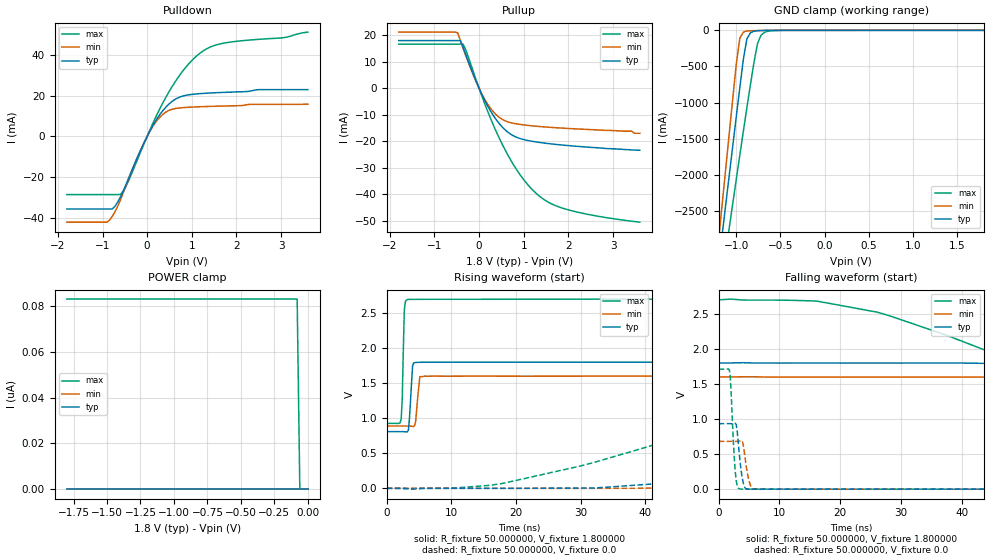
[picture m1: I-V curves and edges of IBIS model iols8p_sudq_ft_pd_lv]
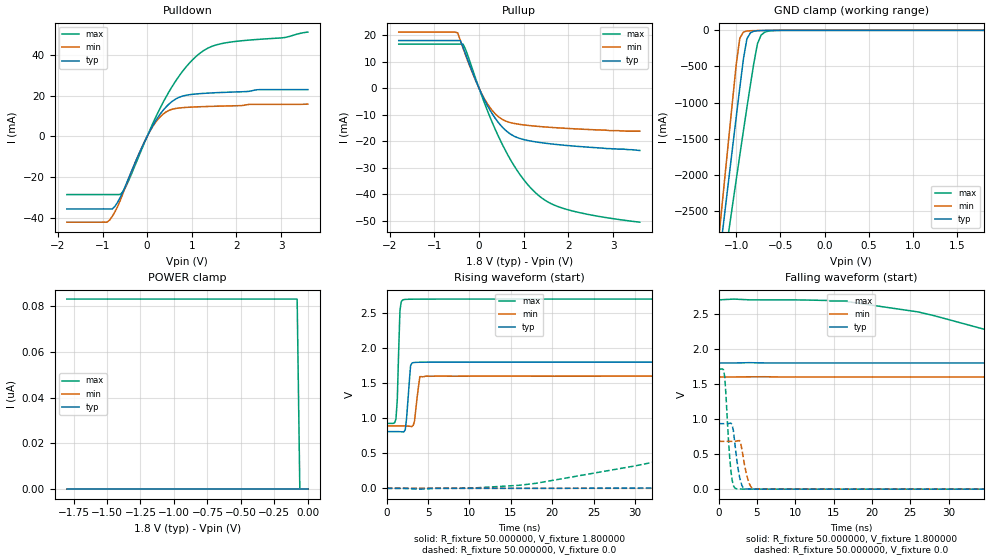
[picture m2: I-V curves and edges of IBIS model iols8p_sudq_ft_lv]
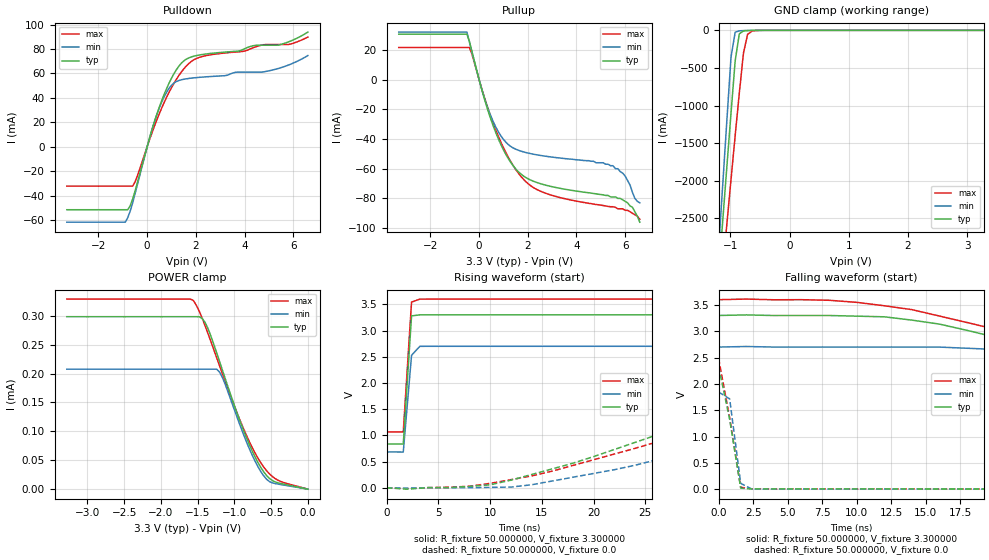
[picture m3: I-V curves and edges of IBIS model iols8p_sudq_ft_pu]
| IBIS file stm32c0_wlcsp12.ibs
| Created by s2ibis version 1.1 (customized version)
| North Carolina State University, ERL, 2006
[IBIS ver] 4.2
[File name] stm32c0_wlcsp12.ibs
[File Rev] 1.0
[Date]  05-08-2022
[Source] Data Created at STMicroelectronics
[Notes]  File originated from ELDO simulations.
[Disclaimer]  This information is for modeling purpose only and is
   not guaranted. The information is subject to change without
   notice.
[Copyright] Copyright 2013 STMicroelectronics Inc.
|   Component stm32c0_wlcsp12
[Component] stm32c0_wlcsp12
[Manufacturer] STMicroelectronics
[Package]
| variable   typ   min   max
R_pkg   0.0   0.0   0.0
L_pkg   0.0H   0.0H   0.0H
C_pkg   0.0F   0.0F   0.0F
[Pin]   signal_name   model_name
A2  PB6  io8prog2m25m50m120m_sudq_i2c_ft
A4  PC15  io8prog2m25m50m120m_sudq_ft
B1  PA13  io8prog2m25m50m120m_sudq_ft
B3  PC14  io8prog2m25m50m120m_sudq_i2c_ft
C2  PA14  io8prog2m25m50m120m_sudq_ft
C4  VDD  power
D3  PB7  io8prog2m25m50m120m_sudq_i2c_ft
E4  VSS  gnd
F1  PA3-PA4-PA5-PA6  io8prog2m25m50m120m_sudq_ft
F3  PF2-PA0-PA1-PA2  io8prog2m25m50m120m_sudq_ft
| in case PA8 is used
| D1  PA8-PA11  io8prog2m25m50m120m_sudq_ft
| in case PA11 is used
D1  PA8-PA11  io8prog2m25m50m120m_sudq_i2c_ft
| in case PA7 is used
| E2  PA12-PA7  io8prog2m25m50m120m_sudq_ft
| in case PA12 is used
E2  PA12-PA7  io8prog2m25m50m120m_sudq_i2c_ft
[Package Model]   443-wlcsp-12-220419
[Pin Mapping]   pulldown_ref   pullup_ref   | Comment
A2  gndio  vddiom
A4  gndio  vddiom
B1  gndio  vddiom
B3  gndio  vddiom
C2  gndio  vddiom
C4  nc  vddiom
D1  gndio  vddiom
D3  gndio  vddiom
E2  gndio  vddiom
E4  gndio  nc
F1  gndio  vddiom
F3  gndio  vddiom
[Model Selector] io8prog2m25m50m120m_sudq_ft
iols8p_sudq_ft_pd_lv  "IO low speed, PD=40kOhm - 1P8V"
iols8p_sudq_ft_pu_lv  "IO low speed, PU=40kOhm - 1P8V"
iols8p_sudq_ft_lv  "IO low speed - 1P8V"
iols8p_sudq_ft_pd  "IO low speed, PD=40kOhm - 3P3V"
iols8p_sudq_ft_pu  "IO low speed, PU=40kOhm - 3P3V"
iols8p_sudq_ft  "IO low speed - 3P3V"
iofs8p_sudq_ft_pd_lv  "IO full speed, PD=40kOhm - 1P8V"
iofs8p_sudq_ft_pu_lv  "IO full speed, PU=40kOhm - 1P8V"
iofs8p_sudq_ft_lv  "IO full speed - 1P8V"
iofs8p_sudq_ft_pd  "IO full speed, PD=40kOhm - 3P3V"
iofs8p_sudq_ft_pu  "IO full speed, PU=40kOhm - 3P3V"
iofs8p_sudq_ft  "IO full speed - 3P3V"
ioms8p_sudq_ft_pd_lv  "IO medium speed, PD=40kOhm - 1P8V"
ioms8p_sudq_ft_pu_lv  "IO medium speed, PU=40kOhm - 1P8V"
ioms8p_sudq_ft_lv  "IO medium speed - 1P8V"
ioms8p_sudq_ft_pd  "IO medium speed, PD=40kOhm - 3P3V"
ioms8p_sudq_ft_pu  "IO medium speed, PU=40kOhm - 3P3V"
ioms8p_sudq_ft  "IO medium speed - 3P3V"
iohs8p_sudq_ft_pd_lv  "IO high speed, PD=40kOhm - 1P8V"
iohs8p_sudq_ft_pu_lv  "IO high speed, PU=40kOhm - 1P8V"
iohs8p_sudq_ft_lv  "IO high speed - 1P8V"
iohs8p_sudq_ft_pd  "IO high speed, PD=40kOhm - 3P3V"
iohs8p_sudq_ft_pu  "IO high speed, PU=40kOhm - 3P3V"
iohs8p_sudq_ft  "IO high speed - 3P3V"
[Model Selector] io8prog2m25m50m120m_sudq_i2c_ft
io8prog_1v8_i2c_pd  "5V Tol GPIO 1.8V range i2c functionality with pull down"
io8prog_1v8_i2c_pu  "5V Tol GPIO 1.8V range i2c functionality with pull up"
io8prog_1v8_i2c  "5V Tol GPIO 1.8V range i2c functionality"
io8prog_3v3_i2c_pd  "5V Tol GPIO 3.3V range i2c functionality with pull down"
io8prog_3v3_i2c_pu  "5V Tol GPIO 3.3V range i2c functionality with pull up"
io8prog_3v3_i2c  "5V Tol GPIO 3.3V range i2c functionality"
iols8p_sudq_ft_pd_lv  "IO low speed, PD=40kOhm - 1P8V"
iols8p_sudq_ft_pu_lv  "IO low speed, PU=40kOhm - 1P8V"
iols8p_sudq_ft_lv  "IO low speed - 1P8V"
iols8p_sudq_ft_pd  "IO low speed, PD=40kOhm - 3P3V"
iols8p_sudq_ft_pu  "IO low speed, PU=40kOhm - 3P3V"
iols8p_sudq_ft  "IO low speed - 3P3V"
iofs8p_sudq_ft_pd_lv  "IO full speed, PD=40kOhm - 1P8V"
iofs8p_sudq_ft_pu_lv  "IO full speed, PU=40kOhm - 1P8V"
iofs8p_sudq_ft_lv  "IO full speed - 1P8V"
iofs8p_sudq_ft_pd  "IO full speed, PD=40kOhm - 3P3V"
iofs8p_sudq_ft_pu  "IO full speed, PU=40kOhm - 3P3V"
iofs8p_sudq_ft  "IO full speed - 3P3V"
ioms8p_sudq_ft_pd_lv  "IO medium speed, PD=40kOhm - 1P8V"
ioms8p_sudq_ft_pu_lv  "IO medium speed, PU=40kOhm - 1P8V"
ioms8p_sudq_ft_lv  "IO medium speed - 1P8V"
ioms8p_sudq_ft_pd  "IO medium speed, PD=40kOhm - 3P3V"
ioms8p_sudq_ft_pu  "IO medium speed, PU=40kOhm - 3P3V"
ioms8p_sudq_ft  "IO medium speed - 3P3V"
iohs8p_sudq_ft_pd_lv  "IO high speed, PD=40kOhm - 1P8V"
iohs8p_sudq_ft_pu_lv  "IO high speed, PU=40kOhm - 1P8V"
iohs8p_sudq_ft_lv  "IO high speed - 1P8V"
iohs8p_sudq_ft_pd  "IO high speed, PD=40kOhm - 3P3V"
iohs8p_sudq_ft_pu  "IO high speed, PU=40kOhm - 3P3V"
iohs8p_sudq_ft  "IO high speed - 3P3V"
[Define Package Model]  443-wlcsp-12-220419
[Manufacturer]  Unknown
[OEM]  Unknown
[Description]  None
[Number Of Pins]  12
[Pin Numbers]
| Pin Num   Terminal Name
B1 | PA13
C2 | PA14
E2 | PA12-PA7
F1 | PA3-PA4-PA5-PA6
D1 | PA8-PA11
A2 | PB6
D3 | PB7
B3 | PC14
A4 | PC15
F3 | PF2-PA0-PA1-PA2
C4 | VDD
E4 | VSS
[Model Data]
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[End Model Data]
[End Package Model]
| Models and submodels in the file (30): iols8p_sudq_ft_pd_lv (I/O), iols8p_sudq_ft_pu_lv (I/O), iols8p_sudq_ft_lv (I/O), iols8p_sudq_ft_pd (I/O), iols8p_sudq_ft_pu (I/O), iols8p_sudq_ft (I/O), iofs8p_sudq_ft_pd_lv (I/O), iofs8p_sudq_ft_pu_lv (I/O), iofs8p_sudq_ft_lv (I/O), iofs8p_sudq_ft_pd (I/O), iofs8p_sudq_ft_pu (I/O), iofs8p_sudq_ft (I/O), ioms8p_sudq_ft_pd_lv (I/O), ioms8p_sudq_ft_pu_lv (I/O), ioms8p_sudq_ft_lv (I/O), ioms8p_sudq_ft_pd (I/O), ioms8p_sudq_ft_pu (I/O), ioms8p_sudq_ft (I/O), iohs8p_sudq_ft_pd_lv (I/O), iohs8p_sudq_ft_pu_lv (I/O), iohs8p_sudq_ft_lv (I/O), iohs8p_sudq_ft_pd (I/O), iohs8p_sudq_ft_pu (I/O), iohs8p_sudq_ft (I/O), io8prog_1v8_i2c_pd (I/O_open_drain), io8prog_1v8_i2c_pu (I/O_open_drain), io8prog_1v8_i2c (I/O_open_drain), io8prog_3v3_i2c_pd (I/O_open_drain), io8prog_3v3_i2c_pu (I/O_open_drain), io8prog_3v3_i2c (I/O_open_drain)
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|   Model iols8p_sudq_ft_pd_lv
[Model]  iols8p_sudq_ft_pd_lv
Model_type I/O
Polarity   Non-Inverting
Enable   Active-Low
Vinl =   0.540000V
Vinh =   1.260000V
Vmeas =  0.900000V
Cref =   50.000000pF
Rref =   100.000000M
Vref =   0.0V
C_comp   1.984800pF   1.899400pF   2.077500pF
[Temperature Range]   25.000000   -40.000000   0.125000k
[Pullup Reference]   1.800000V   1.600000V   2.700000V
[Pulldown Reference]   0.0V   0.0V   0.0V
[POWER Clamp Reference]   1.800000V   1.600000V   2.700000V
[GND Clamp Reference]   0.0V   0.0V   0.0V
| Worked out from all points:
|   slope of the pulldown table from 0 to 0.27 V, typ, clamps not added: 26.4 ohm
|   slope of the pullup table from 0 to 0.27 V, typ, clamps not added: 30.1 ohm
|   GND clamp passes 1 mA (typ) near -0.60 V on its own axis
|   rising waveform, R_fixture 50.000000, V_fixture 1.800000: 20-80 % time 379ps typ, 423ps min, 266ps max; typ from 0.808 V to 1.8 V
|   rising waveform, R_fixture 50.000000, V_fixture 0.0: 20-80 % time 67.1ns typ, 74.3ns min, 45.1ns max; typ from 0 V to 0.933 V
|   falling waveform, R_fixture 50.000000, V_fixture 1.800000: 20-80 % time 73ns typ, 83ns min, 37.6ns max; typ from 1.8 V to 0.808 V
|   falling waveform, R_fixture 50.000000, V_fixture 0.0: 20-80 % time 692ps typ, 757ps min, 595ps max; typ from 0.933 V to 0 V
[Pulldown]
|Voltage   I(typ)   I(min)   I(max)
-1.8V     -35.64mA   -42.15mA   -28.59mA
-900mV    -35.64mA   -42.15mA   -28.59mA
-780mV    -35.64mA   -39.2mA    -28.59mA
-600mV    -29.83mA   -31.31mA   -28.52mA
-420mV    -20.8mA    -21.07mA   -21.98mA
60mV      2.604mA    2.459mA    3.062mA
240mV     9.303mA    8.31mA     11.61mA
480mV     15.67mA    12.64mA    21.52mA
720mV     19.18mA    13.91mA    29.74mA
960mV     20.46mA    14.3mA     36.27mA
1.44V     21.29mA    14.7mA     44.06mA
3.6V      22.91mA    15.79mA    51.15mA
[Pullup]
|Voltage   I(typ)   I(min)   I(max)
-1.8V     18.05mA    21.25mA    16.71mA
-540mV    18.05mA    21.25mA    16.71mA
-480mV    18.05mA    20.95mA    16.71mA
-420mV    18.05mA    18.11mA    16.71mA
-360mV    15.57mA    15.21mA    16.71mA
60mV      -2.268mA   -2.095mA   -2.822mA
360mV     -11.31mA   -9.605mA   -15.45mA
600mV     -15.96mA   -12.42mA   -23.82mA
840mV     -18.52mA   -13.44mA   -30.72mA
1.38V     -20.52mA   -14.47mA   -41.14mA
2.1V      -21.8mA    -15.27mA   -46.39mA
3.6V      -23.4mA    -17mA      -50.6mA
[GND_clamp]
|Voltage   I(typ)   I(min)   I(max)
-1.8V     -9.477A    -9.805A    -9.016A
-1.2V     -3.243A    -2.9A      -3.759A
-1.16V    -2.83A     -2.409A    -3.417A
-1.12V    -2.418A    -1.919A    -3.076A
-1.08V    -2.008A    -1.431A    -2.736A
-1V       -1.194A    -466mA     -2.061A
-960mV    -792.8mA   -108.7mA   -1.727A
-920mV    -402mA     -24.36mA   -1.396A
-880mV    -117.8mA   -9.2mA     -1.071A
-760mV    -5.909mA   -2.892mA   -183.8mA
-680mV    -2.407mA   -1.111mA   -26.63mA
1.8V      47.61uA    33.87uA    60.56uA
[POWER_clamp]
|Voltage   I(typ)   I(min)   I(max)
-1.8V     0A         0A         83.17nA
-80mV     0A         0A         83.17nA
-60mV     0A         0A         0A
0V        0A         0A         0A
[Ramp]
| variable   typ   min   max
dV/dt_r  0.56030/67.04771n   0.40892/74.21097n   1.02690/44.96516n
dV/dt_f  0.59467/72.90760n   0.42644/82.87002n   1.06358/37.57082n
R_load = 50.000000
[Rising Waveform]
R_fixture= 50.000000
V_fixture= 1.800000
V_fixture_min= 1.600000
V_fixture_max= 2.700000
|time   V(typ)   V(min)   V(max)
0s        807.9mV    888.7mV    926.1mV
2.242ns   808mV      888.7mV    991.1mV
2.402ns   807.9mV    888.7mV    1.267V
2.723ns   807.2mV    888.7mV    2.536V
3.203ns   805.4mV    888.8mV    2.691V
4.004ns   1.746V     882.7mV    2.695V
4.484ns   1.794V     959.1mV    2.695V
5.125ns   1.797V     1.592V     2.695V
5.766ns   1.798V     1.599V     2.695V
79.76ns   1.799V     1.599V     2.699V
[Rising Waveform]
R_fixture= 50.000000
V_fixture= 0.0
V_fixture_min= 0.0
V_fixture_max= 0.0
|time   V(typ)   V(min)   V(max)
0s        2.012nV    1.787nV    174.5nV
18.02ns   -344.8uV   -50.09uV   71.38mV
32.03ns   3.824mV    -26.62uV   368.3mV
62.06ns   204.9mV    72.66mV    1.126V
80.08ns   382mV      156.4mV    1.425V
98.1ns    559.2mV    285.8mV    1.568V
138.1ns   787.9mV    493.3mV    1.675V
174.2ns   872mV      629.9mV    1.696V
240.2ns   928mV      674mV      1.71V
997ns     933.5mV    681.5mV    1.711V
[Falling Waveform]
R_fixture= 50.000000
V_fixture= 1.800000
V_fixture_min= 1.600000
V_fixture_max= 2.700000
|time   V(typ)   V(min)   V(max)
0s        1.799V     1.599V     2.699V
16.02ns   1.798V     1.598V     2.682V
26.03ns   1.798V     1.598V     2.524V
64.06ns   1.735V     1.598V     1.385V
76.08ns   1.645V     1.598V     1.183V
118.1ns   1.274V     1.513V     993.2mV
162.2ns   968.9mV    1.273V     950.7mV
214.2ns   864.7mV    1.023V     933.3mV
300.3ns   821mV      917.9mV    926.2mV
997ns     807.9mV    888.7mV    926.1mV
[Falling Waveform]
R_fixture= 50.000000
V_fixture= 0.0
V_fixture_min= 0.0
V_fixture_max= 0.0
|time   V(typ)   V(min)   V(max)
0s        933.5mV    681.5mV    1.711V
1.762ns   933.5mV    681.5mV    1.701V
1.922ns   933.4mV    681.5mV    1.598V
2.723ns   939.8mV    681.4mV    260.7mV
3.043ns   837.1mV    681mV      50.52mV
3.524ns   395.1mV    687.2mV    3.387mV
4.324ns   18.45mV    464.2mV    311.9uV
5.125ns   915.5uV    79.36mV    150.2uV
5.766ns   240.1uV    2.922mV    125.4uV
79.76ns   2.012nV    1.787nV    174.5nV
|   Model iols8p_sudq_ft_lv
[Model]  iols8p_sudq_ft_lv
Model_type I/O
Polarity   Non-Inverting
Enable   Active-Low
Vinl =   0.540000V
Vinh =   1.260000V
Vmeas =  0.900000V
Cref =   50.000000pF
Rref =   100.000000M
Vref =   0.0V
C_comp   1.984800pF   1.899400pF   2.077500pF
[Temperature Range]   25.000000   -40.000000   0.125000k
[Pullup Reference]   1.800000V   1.600000V   2.700000V
[Pulldown Reference]   0.0V   0.0V   0.0V
[POWER Clamp Reference]   1.800000V   1.600000V   2.700000V
[GND Clamp Reference]   0.0V   0.0V   0.0V
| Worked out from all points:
|   slope of the pulldown table from 0 to 0.27 V, typ, clamps not added: 26.4 ohm
|   slope of the pullup table from 0 to 0.27 V, typ, clamps not added: 30.1 ohm
|   GND clamp passes 1 mA (typ) near -0.61 V on its own axis
|   rising waveform, R_fixture 50.000000, V_fixture 1.800000: 20-80 % time 379ps typ, 422ps min, 266ps max; typ from 0.809 V to 1.8 V
|   rising waveform, R_fixture 50.000000, V_fixture 0.0: 20-80 % time 67.1ns typ, 74.1ns min, 45.1ns max; typ from 0 V to 0.934 V
|   falling waveform, R_fixture 50.000000, V_fixture 1.800000: 20-80 % time 72.9ns typ, 82.7ns min, 36.9ns max; typ from 1.8 V to 0.809 V
|   falling waveform, R_fixture 50.000000, V_fixture 0.0: 20-80 % time 693ps typ, 759ps min, 596ps max; typ from 0.934 V to 0 V
[Pulldown]
|Voltage   I(typ)   I(min)   I(max)
-1.8V     -35.64mA   -42.15mA   -28.59mA
-900mV    -35.64mA   -42.15mA   -28.59mA
-780mV    -35.64mA   -39.2mA    -28.59mA
-600mV    -29.83mA   -31.3mA    -28.52mA
-420mV    -20.8mA    -21.07mA   -21.98mA
60mV      2.604mA    2.459mA    3.062mA
240mV     9.303mA    8.31mA     11.61mA
480mV     15.67mA    12.64mA    21.52mA
720mV     19.18mA    13.9mA     29.74mA
960mV     20.46mA    14.3mA     36.27mA
1.44V     21.29mA    14.7mA     44.06mA
3.6V      22.91mA    15.79mA    51.15mA
[Pullup]
|Voltage   I(typ)   I(min)   I(max)
-1.8V     18.05mA    21.25mA    16.71mA
-540mV    18.05mA    21.25mA    16.71mA
-480mV    18.05mA    20.95mA    16.71mA
-420mV    18.05mA    18.11mA    16.71mA
-360mV    15.57mA    15.21mA    16.71mA
60mV      -2.268mA   -2.095mA   -2.822mA
360mV     -11.31mA   -9.605mA   -15.45mA
600mV     -15.96mA   -12.42mA   -23.82mA
840mV     -18.52mA   -13.44mA   -30.72mA
1.38V     -20.52mA   -14.48mA   -41.14mA
2.1V      -21.8mA    -15.27mA   -46.39mA
3.6V      -23.5mA    -16.2mA    -50.6mA
[GND_clamp]
|Voltage   I(typ)   I(min)   I(max)
-1.8V     -9.477A    -9.805A    -9.016A
-1.2V     -3.243A    -2.9A      -3.759A
-1.16V    -2.83A     -2.409A    -3.417A
-1.12V    -2.418A    -1.919A    -3.076A
-1.08V    -2.008A    -1.431A    -2.736A
-1V       -1.194A    -466mA     -2.061A
-960mV    -792.8mA   -108.7mA   -1.727A
-920mV    -402mA     -24.35mA   -1.396A
-880mV    -117.8mA   -9.188mA   -1.071A
-760mV    -5.896mA   -2.88mA    -183.8mA
-680mV    -2.395mA   -1.099mA   -26.61mA
1.8V      0A         0A         0A
[POWER_clamp]
|Voltage   I(typ)   I(min)   I(max)
-1.8V     0A         0A         83.17nA
-80mV     0A         0A         83.17nA
-60mV     0A         0A         0A
0V        0A         0A         0A
[Ramp]
| variable   typ   min   max
dV/dt_r  0.56086/67.04984n   0.40932/74.04359n   1.02762/44.92249n
dV/dt_f  0.59461/72.85692n   0.42627/82.62088n   1.06394/36.88396n
R_load = 50.000000
[Rising Waveform]
R_fixture= 50.000000
V_fixture= 1.800000
V_fixture_min= 1.600000
V_fixture_max= 2.700000
|time   V(typ)   V(min)   V(max)
0s        808.7mV    889.5mV    926.8mV
1.121ns   808.8mV    889.6mV    991.8mV
1.281ns   808.8mV    889.6mV    1.268V
1.602ns   808mV      889.6mV    2.538V
2.082ns   806.2mV    889.7mV    2.693V
2.402ns   999.8mV    888.3mV    2.696V
2.883ns   1.747V     883.6mV    2.698V
3.363ns   1.795V     960.1mV    2.699V
4.164ns   1.799V     1.595V     2.699V
79.76ns   1.8V       1.6V       2.7V
[Rising Waveform]
R_fixture= 50.000000
V_fixture= 0.0
V_fixture_min= 0.0
V_fixture_max= 0.0
|time   V(typ)   V(min)   V(max)
0s        2.099nV    1.863nV    180.8nV
18.02ns   -344.9uV   -50.23uV   71.46mV
32.03ns   3.827mV    -26.67uV   368.8mV
62.06ns   205.1mV    72.71mV    1.127V
78.08ns   362.7mV    142.1mV    1.401V
92.09ns   500.7mV    242.9mV    1.535V
116.1ns   689mV      408.4mV    1.638V
172.2ns   870.2mV    626.6mV    1.697V
238.2ns   928.6mV    674.2mV    1.712V
997ns     934.4mV    682.2mV    1.713V
[Falling Waveform]
R_fixture= 50.000000
V_fixture= 1.800000
V_fixture_min= 1.600000
V_fixture_max= 2.700000
|time   V(typ)   V(min)   V(max)
0s        1.8V       1.6V       2.7V
16.02ns   1.8V       1.6V       2.687V
26.03ns   1.8V       1.6V       2.528V
58.06ns   1.777V     1.6V       1.538V
72.07ns   1.677V     1.6V       1.234V
112.1ns   1.336V     1.547V     1.007V
162.2ns   969.6mV    1.274V     951.1mV
214.2ns   865.1mV    1.024V     935mV
298.3ns   821.2mV    920mV      926.9mV
997ns     808.7mV    889.5mV    926.8mV
[Falling Waveform]
R_fixture= 50.000000
V_fixture= 0.0
V_fixture_min= 0.0
V_fixture_max= 0.0
|time   V(typ)   V(min)   V(max)
0s        934.4mV    682.2mV    1.713V
800.8ps   934.3mV    682.2mV    1.599V
1.602ns   940.7mV    682.1mV    263.3mV
1.922ns   838.1mV    681.6mV    52.75mV
2.402ns   396.2mV    687.9mV    5.068mV
2.883ns   107.6mV    651.3mV    1.837mV
3.203ns   19.47mV    464.8mV    1.429mV
4.004ns   1.584mV    80.01mV    890.5uV
4.645ns   756uV      3.442mV    688.9uV
79.76ns   2.099nV    1.863nV    180.8nV
|   Model iols8p_sudq_ft_pu
[Model]  iols8p_sudq_ft_pu
Model_type I/O
Polarity   Non-Inverting
Enable   Active-Low
Vinl =   0.990000V
Vinh =   2.310000V
Vmeas =  1.650000V
Cref =   50.000000pF
Rref =   100.000000M
Vref =   0.0V
C_comp   2.036400pF   1.984000pF   2.082300pF
[Temperature Range]   25.000000   -40.000000   0.125000k
[Pullup Reference]   3.300000V   2.700000V   3.600000V
[Pulldown Reference]   0.0V   0.0V   0.0V
[POWER Clamp Reference]   3.300000V   2.700000V   3.600000V
[GND Clamp Reference]   0.0V   0.0V   0.0V
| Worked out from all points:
|   slope of the pulldown table from 0 to 0.495 V, typ, clamps not added: 15.4 ohm
|   slope of the pullup table from 0 to 0.495 V, typ, clamps not added: 18.1 ohm
|   GND clamp passes 1 mA (typ) near -0.60 V on its own axis
|   rising waveform, R_fixture 50.000000, V_fixture 3.300000: 20-80 % time 485ps typ, 525ps min, 492ps max; typ from 0.836 V to 3.3 V
|   rising waveform, R_fixture 50.000000, V_fixture 0.0: 20-80 % time 24.4ns typ, 26.2ns min, 30.7ns max; typ from 0.001 V to 2.33 V
|   falling waveform, R_fixture 50.000000, V_fixture 3.300000: 20-80 % time 21.2ns typ, 25.4ns min, 23.9ns max; typ from 3.3 V to 0.836 V
|   falling waveform, R_fixture 50.000000, V_fixture 0.0: 20-80 % time 956ps typ, 552ps min, 969ps max; typ from 2.33 V to 0.001 V
[Pulldown]
|Voltage   I(typ)   I(min)   I(max)
-3.3V     -51.62mA   -61.84mA   -32.32mA
-900mV    -51.62mA   -61.84mA   -32.32mA
-800mV    -51.62mA   -58.24mA   -32.32mA
-500mV    -36.51mA   -38.7mA    -28.96mA
400mV     26.66mA    26.58mA    22.18mA
800mV     47.72mA    44.74mA    40.6mA
1.1V      59.79mA    52.18mA    51.93mA
1.5V      70.22mA    55.24mA    63.66mA
2.1V      74.97mA    56.75mA    72.88mA
4.9V      83.13mA    61.75mA    83.74mA
5.8V      85.85mA    66.87mA    83.74mA
6.6V      93.9mA     74.68mA    89.84mA
[Pullup]
|Voltage   I(typ)   I(min)   I(max)
-3.3V     30.51mA    31.92mA    21.54mA
-500mV    30.51mA    31.92mA    21.54mA
-300mV    19.24mA    18.93mA    17.46mA
500mV     -27.53mA   -25.31mA   -25.83mA
1V        -47.29mA   -40.29mA   -45.86mA
1.5V      -60.05mA   -46.83mA   -60.43mA
2V        -66.7mA    -49.43mA   -69.91mA
2.7V      -70.92mA   -51.53mA   -76.32mA
5.5V      -79mA      -58mA      -85.6mA
6V        -82mA      -65mA      -88mA
6.3V      -86mA      -76mA      -90mA
6.6V      -96mA      -83mA      -94mA
[GND_clamp]
|Voltage   I(typ)   I(min)   I(max)
-3.3V     -9.812A    -9.822A    -9.937A
-1.2V     -3.251A    -2.905A    -3.763A
-1.13V    -2.527A    -2.046A    -3.165A
-1.06V    -1.808A    -1.191A    -2.57A
-990mV    -1.097A    -352.6mA   -1.979A
-920mV    -404.2mA   -25.08mA   -1.398A
-850mV    -46.53mA   -6.503mA   -832.3mA
-780mV    -8.496mA   -3.578mA   -302.4mA
-710mV    -3.383mA   -1.716mA   -53.8mA
-640mV    -1.589mA   -553.8uA   -11.72mA
-360mV    -2.023uA   0A         -84.67uA
3.28V     0A         0A         0A
[POWER_clamp]
|Voltage   I(typ)   I(min)   I(max)
-3.28V    298.2uA    207.4uA    328.7uA
-1.56V    298.2uA    207.4uA    326.5uA
-1.48V    298.2uA    207.4uA    308.2uA
-1.4V     288.5uA    207.4uA    283.1uA
-1.24V    235.4uA    207.4uA    226.9uA
-1.2V     220.1uA    202.1uA    212.7uA
-1.12V    189.4uA    179.6uA    184.4uA
-920mV    116.5uA    109.4uA    118.1uA
-680mV    46.31uA    39.06uA    53.8uA
-560mV    23.38uA    16.91uA    31.65uA
-480mV    14.66uA    10.76uA    21.51uA
0V        0A         0A         0A
[Ramp]
| variable   typ   min   max
dV/dt_r  1.39432/24.32907n   1.10712/26.03302n   1.49022/30.66754n
dV/dt_f  1.47837/21.11983n   1.20959/25.32351n   1.52028/23.79583n
R_load = 50.000000
[Rising Waveform]
R_fixture= 50.000000
V_fixture= 3.300000
V_fixture_min= 2.700000
V_fixture_max= 3.600000
|time   V(typ)   V(min)   V(max)
0s        836mV      684mV      1.066V
1.602ns   835.8mV    683.5mV    1.067V
2.402ns   3.279V     2.529V     3.543V
3.203ns   3.299V     2.699V     3.598V
79.28ns   3.3V       2.7V       3.6V
[Rising Waveform]
R_fixture= 50.000000
V_fixture= 0.0
V_fixture_min= 0.0
V_fixture_max= 0.0
|time   V(typ)   V(min)   V(max)
0s        932.5uV    605.4uV    1.507mV
10.01ns   58.21mV    9.253mV    85.87mV
14.01ns   255mV      59.61mV    227.5mV
22.02ns   733mV      347.4mV    646.1mV
34.03ns   1.487V     931.9mV    1.309V
46.05ns   1.978V     1.401V     1.857V
58.06ns   2.166V     1.659V     2.17V
86.09ns   2.285V     1.807V     2.399V
188.2ns   2.326V     1.846V     2.486V
997ns     2.325V     1.846V     2.486V
[Falling Waveform]
R_fixture= 50.000000
V_fixture= 3.300000
V_fixture_min= 2.700000
V_fixture_max= 3.600000
|time   V(typ)   V(min)   V(max)
0s        3.3V       2.7V       3.6V
8.008ns   3.3V       2.7V       3.589V
16.02ns   3.136V     2.699V     3.289V
24.02ns   2.583V     2.575V     2.745V
38.04ns   1.562V     1.936V     1.818V
46.05ns   1.184V     1.512V     1.461V
54.05ns   1.038V     1.14V      1.302V
62.06ns   969.1mV    930.8mV    1.229V
88.09ns   885.8mV    756.3mV    1.123V
997ns     836mV      684mV      1.066V
[Falling Waveform]
R_fixture= 50.000000
V_fixture= 0.0
V_fixture_min= 0.0
V_fixture_max= 0.0
|time   V(typ)   V(min)   V(max)
0s        2.325V     1.846V     2.486V
800.8ps   1.327V     1.716V     1.355V
1.602ns   20.24mV    111mV      36.22mV
2.402ns   4.804mV    3.818mV    6.652mV
79.28ns   932.5uV    605.4uV    1.507mV
